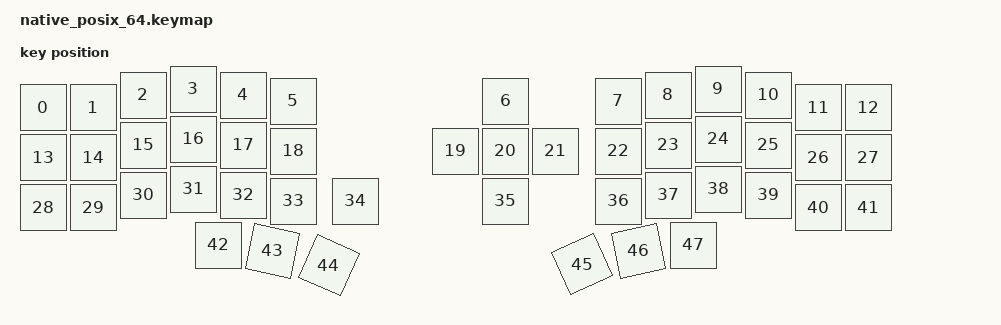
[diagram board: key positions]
#include "../common/keymap.dtsi"
#include <physical_layouts.dtsi>

/* The Eyelash Corne's physical layout (its board's eyelash_corne-layouts.dtsi, key places only),
 * chosen instead of the bare matrix transform, so effect_run.c reads key places from ZMK as on
 * the board. The transform and so the positions are the same. */
/ {
    chosen {
        /delete-property/ zmk,matrix-transform;
        zmk,physical-layout = &sim_layout;
    };

    sim_layout: sim_layout {
        compatible = "zmk,physical-layout";
        display-name = "Eyelash Corne";
        transform = <&default_transform>;
        keys  //                     w   h     x    y     rot    rx   ry
            = <&key_physical_attrs 100 100     0   37       0     0    0>
            , <&key_physical_attrs 100 100   100   37       0     0    0>
            , <&key_physical_attrs 100 100   200   12       0     0    0>
            , <&key_physical_attrs 100 100   300    0       0     0    0>
            , <&key_physical_attrs 100 100   400   12       0     0    0>
            , <&key_physical_attrs 100 100   500   24       0     0    0>
            , <&key_physical_attrs 100 100   925   24       0     0    0>
            , <&key_physical_attrs 100 100  1150   24       0     0    0>
            , <&key_physical_attrs 100 100  1250   12       0     0    0>
            , <&key_physical_attrs 100 100  1350    0       0     0    0>
            , <&key_physical_attrs 100 100  1450   12       0     0    0>
            , <&key_physical_attrs 100 100  1550   37       0     0    0>
            , <&key_physical_attrs 100 100  1650   37       0     0    0>
            , <&key_physical_attrs 100 100     0  137       0     0    0>
            , <&key_physical_attrs 100 100   100  137       0     0    0>
            , <&key_physical_attrs 100 100   200  112       0     0    0>
            , <&key_physical_attrs 100 100   300  100       0     0    0>
            , <&key_physical_attrs 100 100   400  112       0     0    0>
            , <&key_physical_attrs 100 100   500  124       0     0    0>
            , <&key_physical_attrs 100 100   825  124       0     0    0>
            , <&key_physical_attrs 100 100   925  124       0     0    0>
            , <&key_physical_attrs 100 100  1025  124       0     0    0>
            , <&key_physical_attrs 100 100  1150  124       0     0    0>
            , <&key_physical_attrs 100 100  1250  112       0     0    0>
            , <&key_physical_attrs 100 100  1350  100       0     0    0>
            , <&key_physical_attrs 100 100  1450  112       0     0    0>
            , <&key_physical_attrs 100 100  1550  137       0     0    0>
            , <&key_physical_attrs 100 100  1650  137       0     0    0>
            , <&key_physical_attrs 100 100     0  237       0     0    0>
            , <&key_physical_attrs 100 100   100  237       0     0    0>
            , <&key_physical_attrs 100 100   200  212       0     0    0>
            , <&key_physical_attrs 100 100   300  200       0     0    0>
            , <&key_physical_attrs 100 100   400  212       0     0    0>
            , <&key_physical_attrs 100 100   500  224       0     0    0>
            , <&key_physical_attrs 100 100   625  224       0     0    0>
            , <&key_physical_attrs 100 100   925  224       0     0    0>
            , <&key_physical_attrs 100 100  1150  224       0     0    0>
            , <&key_physical_attrs 100 100  1250  212       0     0    0>
            , <&key_physical_attrs 100 100  1350  200       0     0    0>
            , <&key_physical_attrs 100 100  1450  212       0     0    0>
            , <&key_physical_attrs 100 100  1550  237       0     0    0>
            , <&key_physical_attrs 100 100  1650  237       0     0    0>
            , <&key_physical_attrs 100 100   350  312       0     0    0>
            , <&key_physical_attrs 100 100   450  312    1200   450  412>
            , <&key_physical_attrs 100 100   550  312    2400   515  433>
            , <&key_physical_attrs 100 100  1100  312 (-2400)  1230  433>
            , <&key_physical_attrs 100 100  1200  312 (-1200)  1300  412>
            , <&key_physical_attrs 100 100  1300  312       0     0    0>
            ;
    };
};

&kscan {
    events = <
        // No key presses here: module/effects_sim.c raises the keys and plays the PC. This only
        // keeps the simulator running until the driver is done.
        ZMK_MOCK_RELEASE(4,0,20000) // fires at ~20 s; the mock exits ~20 s later
    >;
};
